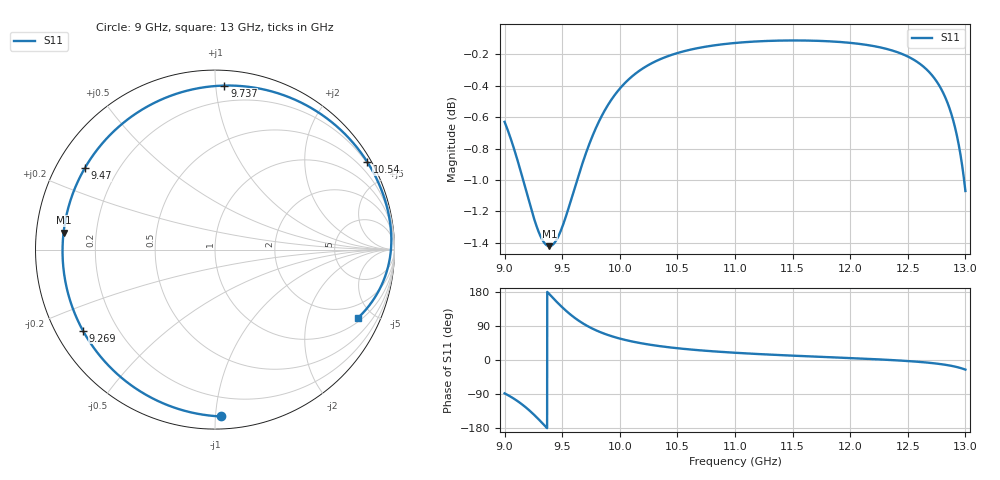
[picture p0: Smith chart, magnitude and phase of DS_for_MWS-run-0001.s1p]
! TOUCHSTONE file generated by CST DESIGN STUDIO
! Date and time: Tue Feb  4 18:22:06 2025
! Project name: C:\Work\MatlabApps\UnitCellOptimizationMatlab\CST\unitcell.cst
! Tree item: Tasks\Sweep1\SPara1\S-Parameters
! Header version: 2024
! Port assignment regex: !\s*Touchstone port\s*([0-9]+)\s*=\s*(CST MWS port|CST DES external port|CST DES block port)\s*(.+)\s* \(\"(.*)\"\)(\s*mode\s*([0-9]+))?.*
! Touchstone port assignment:
! Touchstone port 1 = CST DES external port 1 ("")
# GHz S MA R 50
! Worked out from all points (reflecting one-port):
!   4001 points, 9 GHz to 13 GHz, reference 50 ohm
!   lowest |S11| = -1.4 dB at 9.389 GHz (marker M1), VSWR 12.25, Z = 4.09 + j2.79 ohm
!   phase of S11 starts at -88 deg and turns -297 deg over the sweep
!   S11 on the Smith chart (normalised r, x): 9 GHz: 0.07, -1.03; 9.269 GHz: 0.08, -0.28; 9.47 GHz: 0.08, +0.28; 9.737 GHz: 0.09, +1.05; 10.54 GHz: 0.16, +3.73; 13 GHz: 1.19, -4.12
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9  0.93 -88.1
9.077  0.913 -101.3
9.144  0.8958 -115.4
9.206  0.879 -130.7
9.269  0.8634 -148.5
9.331  0.8526 -167.7
9.389  0.8491 173.6
9.428  0.8507 161.1
9.47  0.8557 148.0
9.5  0.861 139.2
9.554  0.8728 124.4
9.609  0.8862 111.1
9.669  0.9006 98.6
9.737  0.9154 86.7
9.862  0.9368 69.8
10  0.9529 56.5
10.101  0.9611 49.2
10.216  0.968 42.6
10.5  0.9781 31.1
10.535  0.9789 30.0
11  0.9853 19.1
11.5  0.9872 11.5
12  0.9854 5.1
12.5  0.9756 -2.7
12.679  0.9651 -7.1
12.82  0.9478 -12.3
12.915  0.9246 -17.8
13  0.8841 -25.3
